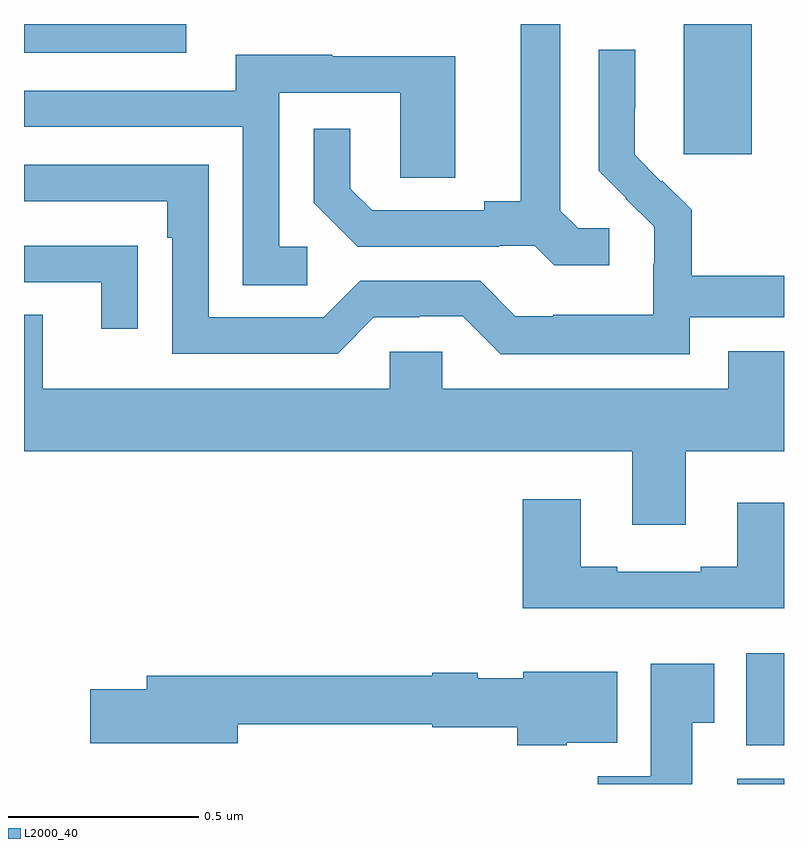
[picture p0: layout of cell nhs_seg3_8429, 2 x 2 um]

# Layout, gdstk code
import gdstk
lib = gdstk.Library(unit=1e-6, precision=1e-09)
def R(c, l, rs):  # rectangles x0, y0, x1, y1
    for r in rs: c.add(gdstk.rectangle(r[:2], r[2:], *l))
def P(c, l, *ps):  # polygons
    for p in ps: c.add(gdstk.Polygon(p, *l))
L2000_40 = (2000, 40)

nhs_seg3_8429 = lib.new_cell('nhs_seg3_8429')
R(nhs_seg3_8429, L2000_40, [(217.877,673.4,218,673.414), (217.901,673.502,218,673.744), (217.736,675.057,217.915,675.4), (216,675.324,216.427,675.4)])
P(nhs_seg3_8429, L2000_40, [(217.54,674.862),(217.458,674.862),(217.411,674.909),(217.411,675.4),(217.307,675.4),(217.307,674.933),(217.211,674.933),(217.211,674.91),(216.916,674.91),(216.859,674.967),(216.859,675.124),(216.762,675.124),(216.762,674.93),(216.878,674.814),(217.25,674.814),(217.25,674.817),(217.344,674.817),(217.396,674.765),(217.54,674.765)],
  [(217.752,674.628),(218,674.628),(218,674.737),(217.757,674.737),(217.757,674.911),(217.68,674.988),(217.677,674.985),(217.607,675.056),(217.607,675.178),(217.608,675.178),(217.608,675.332),(217.512,675.332),(217.512,675.014),(217.585,674.941),(217.584,674.94),(217.658,674.866),(217.658,674.769),(217.656,674.769),(217.656,674.635),(217.393,674.635),(217.393,674.631),(217.293,674.631),(217.2,674.724),(216.885,674.724),(216.789,674.628),(216.486,674.628),(216.486,675.03),(216,675.03),(216,674.934),(216.377,674.934),(216.377,674.837),(216.39,674.837),(216.39,674.532),(216.825,674.532),(216.921,674.628),(217.04,674.628),(217.04,674.631),(217.155,674.631),(217.255,674.531),(217.752,674.531)],
  [(216.745,674.814),(216.672,674.814),(216.672,675.219),(216.99,675.219),(216.99,674.995),(217.135,674.995),(217.135,675.315),(216.811,675.315),(216.811,675.319),(216.557,675.319),(216.557,675.225),(216,675.225),(216,675.129),(216.576,675.129),(216.576,674.713),(216.745,674.713)],
  [(216.299,674.816),(216.197,674.816),(216.197,674.817),(216,674.817),(216,674.721),(216.203,674.721),(216.203,674.598),(216.299,674.598)],
  [(217.741,674.276),(218,674.276),(218,674.539),(217.853,674.539),(217.853,674.44),(217.101,674.44),(217.101,674.538),(216.963,674.538),(216.963,674.44),(216.049,674.44),(216.049,674.635),(216,674.635),(216,674.276),(217.601,674.276),(217.601,674.082),(217.741,674.082)],
  [(218,674.14),(217.877,674.14),(217.877,673.972),(217.781,673.972),(217.781,673.959),(217.561,673.959),(217.561,673.972),(217.465,673.972),(217.465,674.149),(217.313,674.149),(217.313,673.862),(218,673.862)],
  [(217.759,673.561),(217.816,673.561),(217.816,673.717),(217.649,673.717),(217.649,673.42),(217.51,673.42),(217.51,673.4),(217.759,673.4)],
  [(217.428,673.508),(217.561,673.508),(217.561,673.696),(217.314,673.696),(217.314,673.678),(217.194,673.678),(217.194,673.693),(217.074,673.693),(217.074,673.685),(216.323,673.685),(216.323,673.649),(216.174,673.649),(216.174,673.507),(216.562,673.507),(216.562,673.557),(217.074,673.557),(217.074,673.549),(217.298,673.549),(217.298,673.502),(217.428,673.502)])

lib.write_gds('nhs_seg3_8429.gds')
